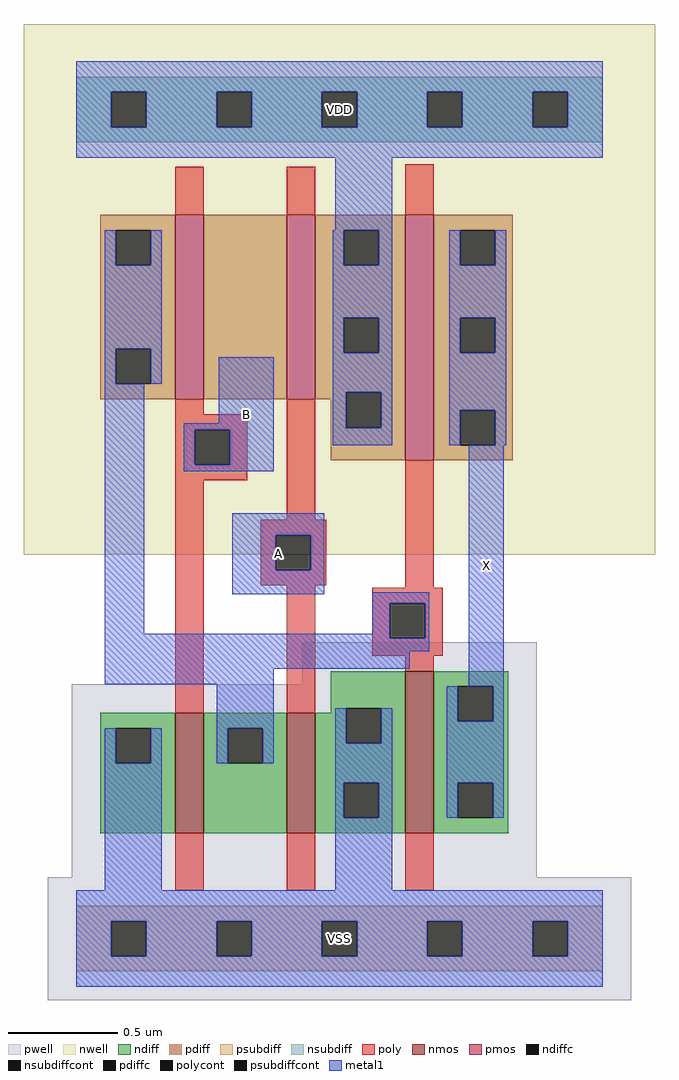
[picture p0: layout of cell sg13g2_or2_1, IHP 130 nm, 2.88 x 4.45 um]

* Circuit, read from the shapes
.subckt sg13g2_or2_1 A VSS B X VDD
XM1 n1 B VSS VSS sg13_lv_nmos w=0.55u l=0.13u
XM2 VSS A n1 VSS sg13_lv_nmos w=0.55u l=0.13u
XM3 X n1 VSS VSS sg13_lv_nmos w=0.74u l=0.13u
XM4 n2 B n1 VDD sg13_lv_pmos w=0.84u l=0.13u
XM5 VDD A n2 VDD sg13_lv_pmos w=0.84u l=0.13u
XM6 X n1 VDD VDD sg13_lv_pmos w=1.12u l=0.13u
.ends

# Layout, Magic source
magic
tech ihp-sg13g2
<< nwell >>
rect -24 175 264 417
<< pwell >>
rect 103 116 210 135
rect -2 28 210 116
rect -13 -28 253 28
<< nmos >>
rect 45 48 58 103
rect 96 48 109 103
rect 150 48 163 122
<< pmos >>
rect 45 246 58 330
rect 96 246 109 330
rect 150 218 163 330
<< ndiff >>
rect 116 105 150 122
rect 116 103 123 105
rect 11 96 45 103
rect 11 80 18 96
rect 34 80 45 96
rect 11 48 45 80
rect 58 96 96 103
rect 58 80 69 96
rect 85 80 96 96
rect 58 48 96 80
rect 109 89 123 103
rect 139 89 150 105
rect 109 71 150 89
rect 109 55 122 71
rect 138 55 150 71
rect 109 48 150 55
rect 163 115 197 122
rect 163 99 174 115
rect 190 99 197 115
rect 163 71 197 99
rect 163 55 174 71
rect 190 55 197 71
rect 163 48 197 55
<< pdiff >>
rect 11 323 45 330
rect 11 307 18 323
rect 34 307 45 323
rect 11 269 45 307
rect 11 253 18 269
rect 34 253 45 269
rect 11 246 45 253
rect 58 246 96 330
rect 109 323 150 330
rect 109 307 122 323
rect 138 307 150 323
rect 109 283 150 307
rect 109 267 122 283
rect 138 267 150 283
rect 109 249 150 267
rect 109 246 123 249
rect 116 233 123 246
rect 139 233 150 249
rect 116 218 150 233
rect 163 323 199 330
rect 163 307 175 323
rect 191 307 199 323
rect 163 283 199 307
rect 163 267 175 283
rect 191 267 199 283
rect 163 241 199 267
rect 163 225 175 241
rect 191 225 199 241
rect 163 218 199 225
<< ndiffc >>
rect 18 80 34 96
rect 69 80 85 96
rect 123 89 139 105
rect 122 55 138 71
rect 174 99 190 115
rect 174 55 190 71
<< pdiffc >>
rect 18 307 34 323
rect 18 253 34 269
rect 122 307 138 323
rect 122 267 138 283
rect 123 233 139 249
rect 175 307 191 323
rect 175 267 191 283
rect 175 225 191 241
<< psubdiff >>
rect 0 8 240 15
rect 0 -8 16 8
rect 32 -8 64 8
rect 80 -8 112 8
rect 128 -8 160 8
rect 176 -8 208 8
rect 224 -8 240 8
rect 0 -15 240 -8
<< nsubdiff >>
rect 0 386 240 393
rect 0 370 16 386
rect 32 370 64 386
rect 80 370 112 386
rect 128 370 160 386
rect 176 370 208 386
rect 224 370 240 386
rect 0 363 240 370
<< psubdiffcont >>
rect 16 -8 32 8
rect 64 -8 80 8
rect 112 -8 128 8
rect 160 -8 176 8
rect 208 -8 224 8
<< nsubdiffcont >>
rect 16 370 32 386
rect 64 370 80 386
rect 112 370 128 386
rect 160 370 176 386
rect 208 370 224 386
<< poly >>
rect 45 330 58 352
rect 96 330 109 352
rect 150 330 163 353
rect 45 239 58 246
rect 45 232 78 239
rect 45 216 54 232
rect 70 216 78 232
rect 45 209 78 216
rect 45 103 58 209
rect 96 191 109 246
rect 84 184 114 191
rect 84 168 91 184
rect 107 168 114 184
rect 84 161 114 168
rect 96 103 109 161
rect 150 160 163 218
rect 135 153 167 160
rect 135 137 143 153
rect 159 137 167 153
rect 135 129 167 137
rect 150 122 163 129
rect 45 22 58 48
rect 96 22 109 48
rect 150 22 163 48
<< polycont >>
rect 54 216 70 232
rect 91 168 107 184
rect 143 137 159 153
<< metal1 >>
rect 0 386 240 400
rect 0 370 16 386
rect 32 370 64 386
rect 80 370 112 386
rect 128 370 160 386
rect 176 370 208 386
rect 224 370 240 386
rect 0 356 240 370
rect 118 323 144 356
rect 13 307 18 323
rect 34 307 39 323
rect 13 269 39 307
rect 13 253 18 269
rect 34 253 39 269
rect 117 307 122 323
rect 138 307 144 323
rect 117 283 144 307
rect 117 267 122 283
rect 138 267 144 283
rect 13 139 31 253
rect 65 235 90 265
rect 49 232 90 235
rect 49 216 54 232
rect 70 216 90 232
rect 117 249 144 267
rect 117 233 123 249
rect 139 233 144 249
rect 117 225 144 233
rect 170 307 175 323
rect 191 307 196 323
rect 170 283 196 307
rect 170 267 175 283
rect 191 267 196 283
rect 170 241 196 267
rect 170 225 175 241
rect 191 225 196 241
rect 49 213 90 216
rect 71 184 113 194
rect 71 168 91 184
rect 107 168 113 184
rect 71 157 113 168
rect 135 153 161 158
rect 135 139 143 153
rect 13 137 143 139
rect 159 137 161 153
rect 13 131 161 137
rect 13 123 152 131
rect 13 116 90 123
rect 64 96 90 116
rect 179 115 195 225
rect 13 80 18 96
rect 34 80 39 96
rect 64 80 69 96
rect 85 80 90 96
rect 118 89 123 105
rect 139 89 144 105
rect 13 22 39 80
rect 118 71 144 89
rect 118 55 122 71
rect 138 55 144 71
rect 169 99 174 115
rect 190 99 195 115
rect 169 71 195 99
rect 169 55 174 71
rect 190 55 195 71
rect 118 22 144 55
rect 0 8 240 22
rect 0 -8 16 8
rect 32 -8 64 8
rect 80 -8 112 8
rect 128 -8 160 8
rect 176 -8 208 8
rect 224 -8 240 8
rect 0 -22 240 -8
<< labels >>
flabel metal1 s 71 157 113 194 0 FreeSans 200 0 0 0 A
port 2 nsew
flabel metal1 s 0 -22 240 22 0 FreeSans 200 0 0 0 VSS
port 3 nsew
flabel metal1 s 65 213 90 265 0 FreeSans 200 0 0 0 B
port 4 nsew
flabel metal1 s 179 115 195 225 0 FreeSans 200 0 0 0 X
port 5 nsew
flabel metal1 s 0 356 240 400 0 FreeSans 200 0 0 0 VDD
port 6 nsew
<< properties >>
string FIXED_BBOX 0 0 240 378
string GDS_END 65488
string GDS_FILE ../gds/controller.gds
string GDS_START 61194
<< end >>
